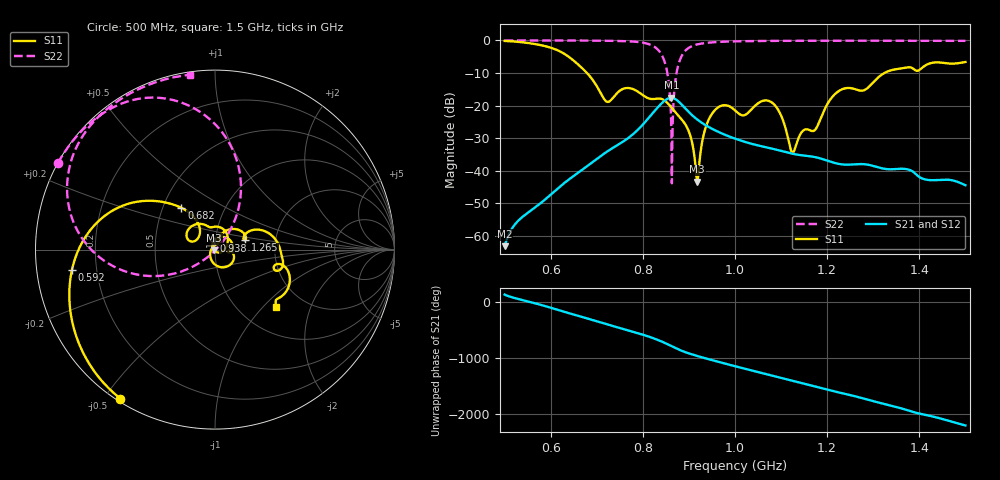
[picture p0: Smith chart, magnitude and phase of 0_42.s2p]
! TOUCHSTONE file generated by CST MICROWAVE STUDIO
! Date and time: Mon Sep 28 15:31:03 2020
! Project name: Scenario_1_Free_SPace.cst
! Parameters = {dx1=883.4; L_HA=400; MT=2.54; Rad_Dielectric=30; Rad_Lower=7.3; Rad_Upper=30; a_HA=580; a_WG=246; b_HA=500; b_WG=121; c_HA=0; c_WG=187; d_feed=85; h_feed=15; h_lower=18; h_upper=40}
! Header version: 2018
! Port assignment regex: !\s*Touchstone port\s*([0-9]+)\s*=\s*(CST MWS port|CST DS port)\s*([0-9]+|Zmin|Zmax)\s*\(\"(.*)\"\)(\s*mode\s*([0-9]+))?.*
! Touchstone port assignment:
! Touchstone port 1 = CST MWS port 1 ("")
! Touchstone port 2 = CST MWS port 2 ("")
# GHz S DB R 50
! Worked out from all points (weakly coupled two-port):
!   1003 points, 500 MHz to 1.5 GHz, reference 50 ohm
!   highest |S21| = -17.61 dB at 862 MHz (marker M1); lowest = -63.1 dB at 500 MHz (marker M2)
!   lowest |S11| = -43.4 dB at 918 MHz (marker M3), VSWR 1.01, Z = 49.5 - j0.487 ohm
!   |S11| at or under -10 dB: 678.7 MHz to 1.324 GHz (645.6 MHz wide, 64.5 % of centre)
!   |S22| runs from -43.9 to 0.0 dB; largest |S21 - S12| = 8.1e-05
!   S11 on the Smith chart (normalised r, x): 500 MHz: 0.01, -0.55; 592 MHz: 0.11, -0.07; 682 MHz: 0.62, +0.32; 938 MHz: 0.99, +0.10; 1.265 GHz: 1.39, +0.15; 1.5 GHz: 1.44, -1.19
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0.5  -0.15 -122.4  -63.14 134.1  -63.14 134.1  -0.01 151.1
0.592  -1.89 -172.1  -48.31 -82.0  -48.30 -82.2  -0.02 144.7
0.667  -8.34 136.6  -39.84 95.0  -39.84 95.0  -0.04 138.4
0.682  -10.51 128.8  -38.28 59.6  -38.28 59.6  -0.05 136.9
0.722  -18.82 142.2  -34.15 -37.3  -34.15 -37.3  -0.11 132.1
0.766  -14.60 142.5  -30.19 -142.8  -30.19 -142.8  -0.25 124.5
0.834  -17.84 85.8  -20.29 37.0  -20.29 37.0  -3.03 90.5
0.852  -18.99 55.4  -18.03 -28.4  -18.03 -28.4  -9.13 65.7
0.862  -20.58 39.6  -17.61 -68.7  -17.61 -68.7  -28.19 42.5
0.881  -23.72 14.7  -19.23 -141.5  -19.23 -141.5  -5.78 -166.3
0.902  -28.79 -24.3  -22.30 155.4  -22.30 155.4  -2.07 170.7
0.918  -43.35 -133.7  -24.26 115.0  -24.26 115.0  -1.22 160.9
0.938  -26.00 95.5  -26.16 68.1  -26.16 68.1  -0.75 153.3
0.966  -20.31 38.0  -28.20 5.4  -28.20 5.4  -0.45 146.5
1  -21.45 -8.9  -30.13 -68.2  -30.13 -68.2  -0.28 140.8
1.08  -19.05 -61.6  -33.20 123.4  -33.20 123.4  -0.14 131.8
1.125  -34.55 144.5  -34.78 29.6  -34.78 29.6  -0.11 127.8
1.167  -27.79 43.1  -35.63 -57.4  -35.63 -57.4  -0.10 124.4
1.218  -16.33 48.9  -37.67 -163.5  -37.67 -163.5  -0.09 120.4
1.265  -15.16 17.1  -37.98 104.4  -37.98 104.4  -0.09 116.9
1.334  -9.37 10.0  -39.54 -43.3  -39.54 -43.3  -0.09 111.7
1.5  -6.62 -43.7  -44.45 -48.4  -44.40 -49.1  -0.14 98.2
